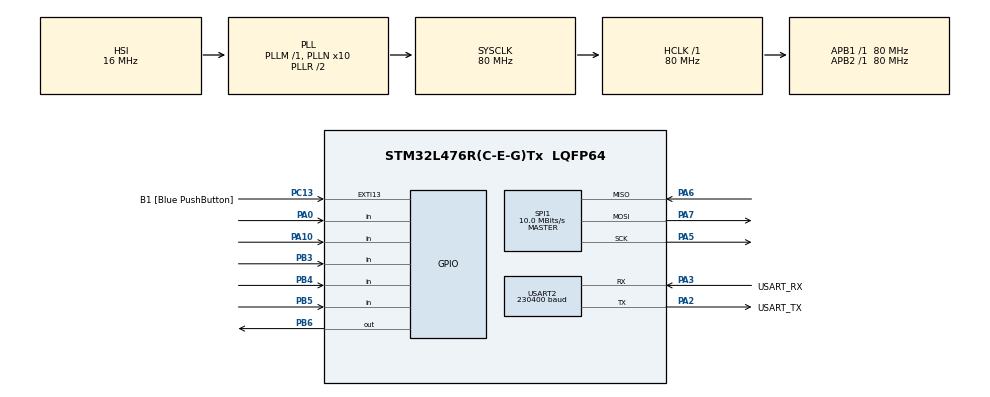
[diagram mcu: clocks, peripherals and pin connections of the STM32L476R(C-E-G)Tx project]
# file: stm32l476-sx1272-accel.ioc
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Dma.Request0=USART2_TX
Dma.USART2_TX.0.Direction=DMA_MEMORY_TO_PERIPH
Dma.USART2_TX.0.Instance=DMA1_Channel7
Dma.USART2_TX.0.MemDataAlignment=DMA_MDATAALIGN_BYTE
Dma.USART2_TX.0.MemInc=DMA_MINC_ENABLE
Dma.USART2_TX.0.Mode=DMA_NORMAL
Dma.USART2_TX.0.PeriphDataAlignment=DMA_PDATAALIGN_BYTE
Dma.USART2_TX.0.PeriphInc=DMA_PINC_DISABLE
Dma.USART2_TX.0.Priority=DMA_PRIORITY_LOW
Mcu.Family=STM32L4
Mcu.Name=STM32L476R(C-E-G)Tx
Mcu.Package=LQFP64
NVIC.DMA1_Channel7_IRQn=true\:0\:0\:false\:false\:true\:false\:true
NVIC.PriorityGroup=NVIC_PRIORITYGROUP_4
NVIC.USART2_IRQn=true\:0\:0\:false\:false\:true\:true\:true
PA0.Signal=GPIO_Input
PA10.Signal=GPIO_Input
PA13\ (JTMS-SWDIO).GPIO_Label=TMS
PA13\ (JTMS-SWDIO).Mode=Serial_Wire
PA13\ (JTMS-SWDIO).Signal=SYS_JTMS-SWDIO
PA14\ (JTCK-SWCLK).GPIO_Label=TCK
PA14\ (JTCK-SWCLK).Mode=Serial_Wire
PA14\ (JTCK-SWCLK).Signal=SYS_JTCK-SWCLK
PA2.GPIO_Label=USART_TX
PA2.GPIO_Mode=GPIO_MODE_AF_PP
PA2.GPIO_PuPd=GPIO_NOPULL
PA2.GPIO_Speed=GPIO_SPEED_FREQ_VERY_HIGH
PA2.Mode=Asynchronous
PA2.Signal=USART2_TX
PA3.GPIO_Label=USART_RX
PA3.GPIO_Mode=GPIO_MODE_AF_PP
PA3.GPIO_PuPd=GPIO_NOPULL
PA3.GPIO_Speed=GPIO_SPEED_FREQ_VERY_HIGH
PA3.Mode=Asynchronous
PA3.Signal=USART2_RX
PA5.Mode=Full_Duplex_Master
PA5.Signal=SPI1_SCK
PA6.Mode=Full_Duplex_Master
PA6.Signal=SPI1_MISO
PA7.Mode=Full_Duplex_Master
PA7.Signal=SPI1_MOSI
PB3\ (JTDO-TRACESWO).Signal=GPIO_Input
PB4\ (NJTRST).Signal=GPIO_Input
PB5.Signal=GPIO_Input
PB6.Signal=GPIO_Output
PC13.GPIO_Label=B1 [Blue PushButton]
PC13.GPIO_ModeDefaultEXTI=GPIO_MODE_IT_FALLING
PC13.GPIO_PuPd=GPIO_NOPULL
PC13.Signal=GPXTI13
PC14-OSC32_IN\ (PC14).Mode=LSE-External-Oscillator
PC14-OSC32_IN\ (PC14).Signal=RCC_OSC32_IN
PC15-OSC32_OUT\ (PC15).Mode=LSE-External-Oscillator
PC15-OSC32_OUT\ (PC15).Signal=RCC_OSC32_OUT
PH0-OSC_IN\ (PH0).Signal=RCC_OSC_IN
PH1-OSC_OUT\ (PH1).Signal=RCC_OSC_OUT
ProjectManager.HeapSize=0x200
ProjectManager.StackSize=0x400
ProjectManager.TargetToolchain=STM32CubeIDE
RCC.ADCFreq_Value=64000000
RCC.AHBFreq_Value=80000000
RCC.APB1Freq_Value=80000000
RCC.APB1TimFreq_Value=80000000
RCC.APB2Freq_Value=80000000
RCC.APB2TimFreq_Value=80000000
RCC.CortexFreq_Value=80000000
RCC.HCLKFreq_Value=80000000
RCC.HSE_VALUE=8000000
RCC.HSI_VALUE=16000000
RCC.MSI_VALUE=4000000
RCC.PLLN=10
RCC.PLLSourceVirtual=RCC_PLLSOURCE_HSI
RCC.PREFETCH_ENABLE=1
RCC.SYSCLKFreq_VALUE=80000000
RCC.SYSCLKSource=RCC_SYSCLKSOURCE_PLLCLK
RCC.USBFreq_Value=64000000
RCC.VCOOutputFreq_Value=160000000
SPI1.BaudRatePrescaler=SPI_BAUDRATEPRESCALER_8
SPI1.CalculateBaudRate=10.0 MBits/s
SPI1.DataSize=SPI_DATASIZE_8BIT
SPI1.Direction=SPI_DIRECTION_2LINES
SPI1.Mode=SPI_MODE_MASTER
SPI1.VirtualType=VM_MASTER
USART2.BaudRate=230400
USART2.VirtualMode-Asynchronous=VM_ASYNC
board=NUCLEO-L476RG

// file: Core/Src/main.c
/* USER CODE BEGIN Header */
/**
  ******************************************************************************
  * @file           : main.c
  * @brief          : Main program body
  ******************************************************************************
  * @attention
  *
  * <h2><center>&copy; Copyright (c) 2020 STMicroelectronics.
  * All rights reserved.</center></h2>
  *
  * This software component is licensed by ST under BSD 3-Clause license,
  * the "License"; You may not use this file except in compliance with the
  * License. You may obtain a copy of the License at:
  *                        opensource.org/licenses/BSD-3-Clause
  *
  ******************************************************************************
  */
/* USER CODE END Header */

#include "main.h"

/* USER CODE BEGIN Includes */

#include "stdio.h"

/* USER CODE END Includes */

SPI_HandleTypeDef hspi1;

UART_HandleTypeDef huart2;
DMA_HandleTypeDef hdma_usart2_tx;

void SystemClock_Config(void);
static void MX_GPIO_Init(void);
static void MX_DMA_Init(void);
static void MX_USART2_UART_Init(void);
static void MX_SPI1_Init(void);
/* USER CODE BEGIN PFP */

//первый акселерометр
int xIntSumFirst, yIntSumFirst, zIntSumFirst;
int x5First, x60First, x65First, y8First, y90First, y95First, z11First, z120First, z125First;
//char xval[3][7], yval[3][7], zval[3][7], str1[3][16];
char xvalFirst[7], yvalFirst[7], zvalFirst[7];

//второй акслерометр
int xIntSumSecond, yIntSumSecond, zIntSumSecond;
int x5Second, x60Second, x65Second, y8Second, y90Second, y95Second, z11Second, z120Second, z125Second;
//char xval[3][7], yval[3][7], zval[3][7], str1[3][16];
char xvalSecond[7], yvalSecond[7], zvalSecond[7];

//третий акселерометр
int xIntSumThird, yIntSumThird, zIntSumThird;
int x5Third, x60Third, x65Third, y8Third, y90Third, y95Third, z11Third, z120Third, z125Third;
//char xval[3][7], yval[3][7], zval[3][7], str1[3][16];
char xvalThird[7], yvalThird[7], zvalThird[7], str1[67];

uint8_t TX_RX_Radio[60];
/* USER CODE END PFP */

/* USER CODE BEGIN 0 */

/*
  Name  : CRC-8
  Poly  : 0x31    x^8 + x^5 + x^4 + 1
  Init  : 0xFF
  Revert: false
  XorOut: 0x00
  Check : 0xF7 ("123456789")
  MaxLen: 15 байт (127 бит) - обнаружение
    одинарных, двойных, тройных и всех нечетных ошибок
*/

const unsigned char Crc8Table[256] = {
    0x00, 0x31, 0x62, 0x53, 0xC4, 0xF5, 0xA6, 0x97,
    0xB9, 0x88, 0xDB, 0xEA, 0x7D, 0x4C, 0x1F, 0x2E,
    0x43, 0x72, 0x21, 0x10, 0x87, 0xB6, 0xE5, 0xD4,
    0xFA, 0xCB, 0x98, 0xA9, 0x3E, 0x0F, 0x5C, 0x6D,
    0x86, 0xB7, 0xE4, 0xD5, 0x42, 0x73, 0x20, 0x11,
    0x3F, 0x0E, 0x5D, 0x6C, 0xFB, 0xCA, 0x99, 0xA8,
    0xC5, 0xF4, 0xA7, 0x96, 0x01, 0x30, 0x63, 0x52,
    0x7C, 0x4D, 0x1E, 0x2F, 0xB8, 0x89, 0xDA, 0xEB,
    0x3D, 0x0C, 0x5F, 0x6E, 0xF9, 0xC8, 0x9B, 0xAA,
    0x84, 0xB5, 0xE6, 0xD7, 0x40, 0x71, 0x22, 0x13,
    0x7E, 0x4F, 0x1C, 0x2D, 0xBA, 0x8B, 0xD8, 0xE9,
    0xC7, 0xF6, 0xA5, 0x94, 0x03, 0x32, 0x61, 0x50,
    0xBB, 0x8A, 0xD9, 0xE8, 0x7F, 0x4E, 0x1D, 0x2C,
    0x02, 0x33, 0x60, 0x51, 0xC6, 0xF7, 0xA4, 0x95,
    0xF8, 0xC9, 0x9A, 0xAB, 0x3C, 0x0D, 0x5E, 0x6F,
    0x41, 0x70, 0x23, 0x12, 0x85, 0xB4, 0xE7, 0xD6,
    0x7A, 0x4B, 0x18, 0x29, 0xBE, 0x8F, 0xDC, 0xED,
    0xC3, 0xF2, 0xA1, 0x90, 0x07, 0x36, 0x65, 0x54,
    0x39, 0x08, 0x5B, 0x6A, 0xFD, 0xCC, 0x9F, 0xAE,
    0x80, 0xB1, 0xE2, 0xD3, 0x44, 0x75, 0x26, 0x17,
    0xFC, 0xCD, 0x9E, 0xAF, 0x38, 0x09, 0x5A, 0x6B,
    0x45, 0x74, 0x27, 0x16, 0x81, 0xB0, 0xE3, 0xD2,
    0xBF, 0x8E, 0xDD, 0xEC, 0x7B, 0x4A, 0x19, 0x28,
    0x06, 0x37, 0x64, 0x55, 0xC2, 0xF3, 0xA0, 0x91,
    0x47, 0x76, 0x25, 0x14, 0x83, 0xB2, 0xE1, 0xD0,
    0xFE, 0xCF, 0x9C, 0xAD, 0x3A, 0x0B, 0x58, 0x69,
    0x04, 0x35, 0x66, 0x57, 0xC0, 0xF1, 0xA2, 0x93,
    0xBD, 0x8C, 0xDF, 0xEE, 0x79, 0x48, 0x1B, 0x2A,
    0xC1, 0xF0, 0xA3, 0x92, 0x05, 0x34, 0x67, 0x56,
    0x78, 0x49, 0x1A, 0x2B, 0xBC, 0x8D, 0xDE, 0xEF,
    0x82, 0xB3, 0xE0, 0xD1, 0x46, 0x77, 0x24, 0x15,
    0x3B, 0x0A, 0x59, 0x68, 0xFF, 0xCE, 0x9D, 0xAC
};

unsigned char Crc8(unsigned char *pcBlock, unsigned char len)
{
    unsigned char crc = 0xFF;

    while (len--)
        crc = Crc8Table[crc ^ *pcBlock++];

    return crc;
}

void transmit(uint8_t str[27])
{

		//маркер начала команды
//		if(str[0] == 0x68)
//		{
			//str[1] - длина команды в байтах
			//0x68 - команда возврата данных с акселерометра
//			if(str[3] == 0x84)
//			{
				// первый акселерометр
				// Ось Х
				xIntSumFirst = (str[0] & 0x0F) * 10 + (str[1] >> 4); // целочисленная сумма X
				//xSum = (str[5] & 0x0F) * 100 + (str[6] >> 4) * 10 + (str[6] & 0x0F);//цифры после запятой Х
				x5First = str[1] & 0x0F; //перевод правого бита 5го байта
				x60First = str[2] >> 4; //перевод левого бита 6го байта
				x65First = str[2] & 0x0F; //перевод правого бита 6го байта
				sprintf(xvalFirst, "+%02d.%d%d ",xIntSumFirst, x5First, x60First);
				if((str[0] >> 4) == 0x01)
					xvalFirst[0] = '-';

				// Ось Y
				yIntSumFirst = (str[3] & 0x0F) * 10 + (str[4] >> 4);	// целочисленная сумма Y
				//ySum = (str[8] & 0x0F) * 100 + (str[9] >> 4) * 10 + (str[9] & 0x0F); //цифры после запятой Y
				y8First = str[4] & 0x0F; //перевод правого бита 8го байта
				y90First = str[5] >> 4; //перевод левого бита 9го байта
				y95First = str[5] & 0x0F; //перевод правого бита 9го байта
				sprintf(yvalFirst, "+%02d.%d%d ", yIntSumFirst, y8First, y90First);
				if((str[3] >> 4) == 0x01)
					yvalFirst[0] = '-';

				// Ось Z
				zIntSumFirst = (str[6] & 0x0F) * 10 + (str[7] >> 4); //целочисленная сумма Z
				//zSum = (str[11] & 0x0F) * 100 + (str[12] >> 4) * 10 + (str[12] & 0x0F); //цифры после запятой Z
				z11First = str[7] & 0x0F; //перевод правого бита 11го байта
				z120First = str[8] >> 4; //перевод левого бита 12го байта
				z125First = str[8] & 0x0F; //перевод правого бита 12го байта
				sprintf(zvalFirst, "+%02d.%d%d ", zIntSumFirst, z11First, z120First);
				if((str[6] >> 4) == 0x01)
					zvalFirst[0] = '-';

				// второй акселерометр
				// Ось Х
				xIntSumSecond = (str[9] & 0x0F) * 10 + (str[10] >> 4); // целочисленная сумма X
				//xSum = (str[5] & 0x0F) * 100 + (str[6] >> 4) * 10 + (str[6] & 0x0F);//цифры после запятой Х
				x5Second = str[10] & 0x0F; //перевод правого бита 5го байта
				x60Second = str[11] >> 4; //перевод левого бита 6го байта
				x65Second = str[11] & 0x0F; //перевод правого бита 6го байта
				sprintf(xvalSecond, "+%02d.%d%d ",xIntSumSecond, x5Second, x60Second);
				if((str[9] >> 4) == 0x01)
					xvalSecond[0] = '-';

				// Ось Y
				yIntSumSecond = (str[12] & 0x0F) * 10 + (str[13] >> 4);	// целочисленная сумма Y
				//ySum = (str[8] & 0x0F) * 100 + (str[9] >> 4) * 10 + (str[9] & 0x0F); //цифры после запятой Y
				y8Second = str[13] & 0x0F; //перевод правого бита 8го байта
				y90Second = str[14] >> 4; //перевод левого бита 9го байта
				y95Second = str[14] & 0x0F; //перевод правого бита 9го байта
				sprintf(yvalSecond, "+%02d.%d%d ", yIntSumSecond, y8Second, y90Second);
				if((str[12] >> 4) == 0x01)
					yvalSecond[0] = '-';

				// Ось Z
				zIntSumSecond = (str[15] & 0x0F) * 10 + (str[16] >> 4); //целочисленная сумма Z
				//zSum = (str[11] & 0x0F) * 100 + (str[12] >> 4) * 10 + (str[12] & 0x0F); //цифры после запятой Z
				z11Second = str[16] & 0x0F; //перевод правого бита 11го байта
				z120Second = str[17] >> 4; //перевод левого бита 12го байта
				z125Second = str[17] & 0x0F; //перевод правого бита 12го байта
				sprintf(zvalSecond, "+%02d.%d%d ", zIntSumSecond, z11Second, z120Second);
				if((str[15] >> 4) == 0x01)
					zvalSecond[0] = '-';

				// третий акселерометр
				// Ось Х
				xIntSumThird = (str[18] & 0x0F) * 10 + (str[19] >> 4); // целочисленная сумма X
				//xSum = (str[5] & 0x0F) * 100 + (str[6] >> 4) * 10 + (str[6] & 0x0F);//цифры после запятой Х
				x5Third = str[19] & 0x0F; //перевод правого бита 5го байта
				x60Third = str[20] >> 4; //перевод левого бита 6го байта
				x65Third = str[20] & 0x0F; //перевод правого бита 6го байта
				sprintf(xvalThird, "+%02d.%d%d ",xIntSumThird, x5Third, x60Third);
				if((str[18] >> 4) == 0x01)
					xvalThird[0] = '-';

				// Ось Y
				yIntSumThird = (str[21] & 0x0F) * 10 + (str[22] >> 4);	// целочисленная сумма Y
				//ySum = (str[8] & 0x0F) * 100 + (str[9] >> 4) * 10 + (str[9] & 0x0F); //цифры после запятой Y
				y8Third = str[22] & 0x0F; //перевод правого бита 8го байта
				y90Third = str[23] >> 4; //перевод левого бита 9го байта
				y95Third = str[23] & 0x0F; //перевод правого бита 9го байта
				sprintf(yvalThird, "+%02d.%d%d ", yIntSumThird, y8Third, y90Third);
				if((str[21] >> 4) == 0x01)
					yvalThird[0] = '-';

				// Ось Z
				zIntSumThird = (str[24] & 0x0F) * 10 + (str[25] >> 4); //целочисленная сумма Z
				//zSum = (str[11] & 0x0F) * 100 + (str[12] >> 4) * 10 + (str[12] & 0x0F); //цифры после запятой Z
				z11Third = str[25] & 0x0F; //перевод правого бита 11го байта
				z120Third = str[26] >> 4; //перевод левого бита 12го байта
				z125Third = str[26] & 0x0F; //перевод правого бита 12го байта
				sprintf(zvalThird, "+%02d.%d%d ", zIntSumThird, z11Third, z120Third);
				if((str[24] >> 4) == 0x01)
					zvalThird[0] = '-';
//			}
//		}
		sprintf(str1, "%s%s%s%s%s%s%s%s%s\n", xvalFirst, yvalFirst, zvalFirst, xvalSecond, yvalSecond, zvalSecond, xvalThird, yvalThird, zvalThird);
	HAL_UART_Abort(&huart2);
	HAL_UART_Transmit_IT(&huart2, (uint8_t*)str1, 64);

	//NVIC_DisableIRQ(USART2_IRQn);
	//HAL_UART_Transmit(&huart2, (uint8_t*)str1, 45,100);
	//NVIC_EnableIRQ(USART2_IRQn);

	//HAL_GPIO_WritePin(GPIOA, GPIO_PIN_1, GPIO_PIN_SET);
	//HAL_UART_Transmit_IT(&huart3, accelSelect[accelNum], 5);
}

/* USER CODE END 0 */

int main(void)
{

  /* MCU Configuration--------------------------------------------------------*/

  /* Reset of all peripherals, Initializes the Flash interface and the Systick. */
  HAL_Init();

  /* Configure the system clock */
  SystemClock_Config();

  /* Initialize all configured peripherals */
  MX_GPIO_Init();
  MX_DMA_Init();
  MX_USART2_UART_Init();
  MX_SPI1_Init();
  /* USER CODE BEGIN 2 */
  HAL_GPIO_WritePin(GPIOA, GPIO_PIN_0, GPIO_PIN_RESET);
  Rf96_Lora_init();
  Rf96_Lora_RX_mode();
  /* USER CODE END 2 */

  /* Infinite loop */
  /* USER CODE BEGIN WHILE */
  while (1)
  {

	  /*
	  if(Get_NIRQ_Di1()) // Прерывание по таймауту
	  	 	  {
	  	 		  Rf96_LoRaClearIrq();
	  	 		  Rf96_Lora_RX_mode();
	  	 		  //Rf96_LoRaRxPacket((char*)TX_RX_Radio);

	  	 	  }
*/
	  if(Get_NIRQ_Di0()) // Прерывание по приему по радиоканалу
	  	 	 {
	  	 	    //  Rf96_LoRaRxPacket((char*)TX_RX_Radio);
	  	 	   Rf96_DataRX_From_FiFO((char*)TX_RX_Radio);

	  	 	  if(Get_NIRQ_Di3()) // Если CRC не совпадает
	  	 		{

	  	 		}
	  	 	  else              // CRC совпало
	  	 	  {
	  	 		transmit(TX_RX_Radio);
	  	 	  }
	  	 	Rf96_LoRaClearIrq();

	  	 	//TX_RX_Radio[28]='\n';

	  	 	//str1[0]='1';
	  	 	//str1[1]='\n';
	  	 //	HAL_UART_Transmit_IT(&huart2, (uint8_t*)str1, 2);
          // if(Crc8(TX_RX_Radio,27)==TX_RX_Radio[27])
          //  {
          //  	transmit(TX_RX_Radio);
          //  }

				 // TX_RX_Radio[0]='P';
				//  TX_RX_Radio[1]='i';
				//  TX_RX_Radio[2]='n';
				//  TX_RX_Radio[3]='g';
				 // Rf96_Lora_TX_mode();
				 // Rf96_LoRaTxPacket((char*)TX_RX_Radio,19);
				  //Rf96_Lora_RX_mode();
	  	 	 }
    /* USER CODE END WHILE */

  }
}

void SystemClock_Config(void)
{
  RCC_OscInitTypeDef RCC_OscInitStruct = {0};
  RCC_ClkInitTypeDef RCC_ClkInitStruct = {0};
  RCC_PeriphCLKInitTypeDef PeriphClkInit = {0};

  /** Initializes the CPU, AHB and APB busses clocks
  */
  RCC_OscInitStruct.OscillatorType = RCC_OSCILLATORTYPE_HSI;
  RCC_OscInitStruct.HSIState = RCC_HSI_ON;
  RCC_OscInitStruct.HSICalibrationValue = RCC_HSICALIBRATION_DEFAULT;
  RCC_OscInitStruct.PLL.PLLState = RCC_PLL_ON;
  RCC_OscInitStruct.PLL.PLLSource = RCC_PLLSOURCE_HSI;
  RCC_OscInitStruct.PLL.PLLM = 1;
  RCC_OscInitStruct.PLL.PLLN = 10;
  RCC_OscInitStruct.PLL.PLLP = RCC_PLLP_DIV7;
  RCC_OscInitStruct.PLL.PLLQ = RCC_PLLQ_DIV2;
  RCC_OscInitStruct.PLL.PLLR = RCC_PLLR_DIV2;
  if (HAL_RCC_OscConfig(&RCC_OscInitStruct) != HAL_OK)
  {
    Error_Handler();
  }
  /** Initializes the CPU, AHB and APB busses clocks
  */
  RCC_ClkInitStruct.ClockType = RCC_CLOCKTYPE_HCLK|RCC_CLOCKTYPE_SYSCLK
                              |RCC_CLOCKTYPE_PCLK1|RCC_CLOCKTYPE_PCLK2;
  RCC_ClkInitStruct.SYSCLKSource = RCC_SYSCLKSOURCE_PLLCLK;
  RCC_ClkInitStruct.AHBCLKDivider = RCC_SYSCLK_DIV1;
  RCC_ClkInitStruct.APB1CLKDivider = RCC_HCLK_DIV1;
  RCC_ClkInitStruct.APB2CLKDivider = RCC_HCLK_DIV1;

  if (HAL_RCC_ClockConfig(&RCC_ClkInitStruct, FLASH_LATENCY_4) != HAL_OK)
  {
    Error_Handler();
  }
  PeriphClkInit.PeriphClockSelection = RCC_PERIPHCLK_USART2;
  PeriphClkInit.Usart2ClockSelection = RCC_USART2CLKSOURCE_PCLK1;
  if (HAL_RCCEx_PeriphCLKConfig(&PeriphClkInit) != HAL_OK)
  {
    Error_Handler();
  }
  /** Configure the main internal regulator output voltage
  */
  if (HAL_PWREx_ControlVoltageScaling(PWR_REGULATOR_VOLTAGE_SCALE1) != HAL_OK)
  {
    Error_Handler();
  }
}

static void MX_SPI1_Init(void)
{

  /* SPI1 parameter configuration*/
  hspi1.Instance = SPI1;
  hspi1.Init.Mode = SPI_MODE_MASTER;
  hspi1.Init.Direction = SPI_DIRECTION_2LINES;
  hspi1.Init.DataSize = SPI_DATASIZE_8BIT;
  hspi1.Init.CLKPolarity = SPI_POLARITY_LOW;
  hspi1.Init.CLKPhase = SPI_PHASE_1EDGE;
  hspi1.Init.NSS = SPI_NSS_SOFT;
  hspi1.Init.BaudRatePrescaler = SPI_BAUDRATEPRESCALER_8;
  hspi1.Init.FirstBit = SPI_FIRSTBIT_MSB;
  hspi1.Init.TIMode = SPI_TIMODE_DISABLE;
  hspi1.Init.CRCCalculation = SPI_CRCCALCULATION_DISABLE;
  hspi1.Init.CRCPolynomial = 7;
  hspi1.Init.CRCLength = SPI_CRC_LENGTH_DATASIZE;
  hspi1.Init.NSSPMode = SPI_NSS_PULSE_ENABLE;
  if (HAL_SPI_Init(&hspi1) != HAL_OK)
  {
    Error_Handler();
  }

}

static void MX_USART2_UART_Init(void)
{

  huart2.Instance = USART2;
  huart2.Init.BaudRate = 230400;
  huart2.Init.WordLength = UART_WORDLENGTH_8B;
  huart2.Init.StopBits = UART_STOPBITS_1;
  huart2.Init.Parity = UART_PARITY_NONE;
  huart2.Init.Mode = UART_MODE_TX_RX;
  huart2.Init.HwFlowCtl = UART_HWCONTROL_NONE;
  huart2.Init.OverSampling = UART_OVERSAMPLING_16;
  huart2.Init.OneBitSampling = UART_ONE_BIT_SAMPLE_DISABLE;
  huart2.AdvancedInit.AdvFeatureInit = UART_ADVFEATURE_NO_INIT;
  if (HAL_UART_Init(&huart2) != HAL_OK)
  {
    Error_Handler();
  }

}

static void MX_DMA_Init(void)
{

  /* DMA controller clock enable */
  __HAL_RCC_DMA1_CLK_ENABLE();

  /* DMA interrupt init */
  /* DMA1_Channel7_IRQn interrupt configuration */
  HAL_NVIC_SetPriority(DMA1_Channel7_IRQn, 0, 0);
  HAL_NVIC_EnableIRQ(DMA1_Channel7_IRQn);

}

static void MX_GPIO_Init(void)
{
  GPIO_InitTypeDef GPIO_InitStruct = {0};

  /* GPIO Ports Clock Enable */
  __HAL_RCC_GPIOC_CLK_ENABLE();
  __HAL_RCC_GPIOH_CLK_ENABLE();
  __HAL_RCC_GPIOA_CLK_ENABLE();
  __HAL_RCC_GPIOB_CLK_ENABLE();

  /*Configure GPIO pin Output Level */
  HAL_GPIO_WritePin(GPIOB, GPIO_PIN_6, GPIO_PIN_RESET);

  /*Configure GPIO pin : B1_Pin */
  GPIO_InitStruct.Pin = B1_Pin;
  GPIO_InitStruct.Mode = GPIO_MODE_IT_FALLING;
  GPIO_InitStruct.Pull = GPIO_NOPULL;
  HAL_GPIO_Init(B1_GPIO_Port, &GPIO_InitStruct);

  /*Configure GPIO pins : PA0 PA10 */
  GPIO_InitStruct.Pin = GPIO_PIN_0|GPIO_PIN_10;
  GPIO_InitStruct.Mode = GPIO_MODE_INPUT;
  GPIO_InitStruct.Pull = GPIO_NOPULL;
  HAL_GPIO_Init(GPIOA, &GPIO_InitStruct);

  /*Configure GPIO pins : PB3 PB4 PB5 */
  GPIO_InitStruct.Pin = GPIO_PIN_3|GPIO_PIN_4|GPIO_PIN_5;
  GPIO_InitStruct.Mode = GPIO_MODE_INPUT;
  GPIO_InitStruct.Pull = GPIO_NOPULL;
  HAL_GPIO_Init(GPIOB, &GPIO_InitStruct);

  /*Configure GPIO pin : PB6 */
  GPIO_InitStruct.Pin = GPIO_PIN_6;
  GPIO_InitStruct.Mode = GPIO_MODE_OUTPUT_PP;
  GPIO_InitStruct.Pull = GPIO_NOPULL;
  GPIO_InitStruct.Speed = GPIO_SPEED_FREQ_LOW;
  HAL_GPIO_Init(GPIOB, &GPIO_InitStruct);

}

void Error_Handler(void)
{
}

/************************ (C) COPYRIGHT STMicroelectronics *****END OF FILE****/
